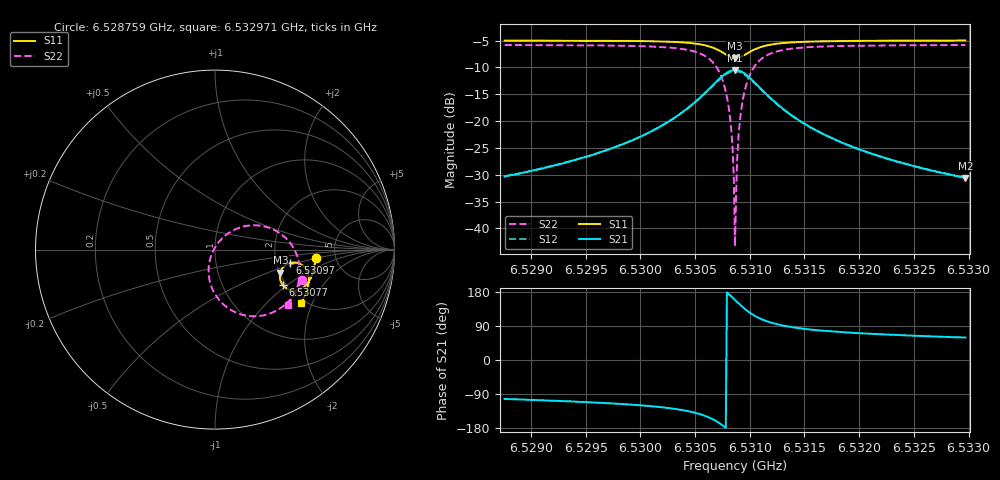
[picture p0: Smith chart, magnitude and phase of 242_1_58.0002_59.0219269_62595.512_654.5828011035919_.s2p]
#  HZ  S  RI  R  50.00
! Rohde & Schwarz Vector Network Analyzer
! Rohde-Schwarz,ZNB20-2Port,1311601062101988,3.16
! Created: UTC 3/21/2024, 1:01:06 AM
! freq[Hz]  re:S11  im:S11  re:S21  im:S21  re:S12  im:S12  re:S22  im:S22
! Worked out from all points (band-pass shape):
!   401 points, 6.528759 GHz to 6.532971 GHz, reference 50 ohm
!   highest |S21| = -10.46 dB at 6.530865 GHz (marker M1); lowest = -30.6 dB at 6.532971 GHz (marker M2)
!   |S21| within 3 dB of the highest: 6.530655 GHz to 6.531076 GHz (421.5 kHz wide, 0.00645 % of centre)
!   lowest |S11| = -8.3 dB at 6.530865 GHz (marker M3), VSWR 2.26, Z = 101 - j30.4 ohm
!   |S11| at or under -10 dB: nowhere
!   |S22| runs from -43.3 to -5.8 dB; largest |S21 - S12| = 0.012
!   S11 on the Smith chart (normalised r, x): 6.528759 GHz: 3.50, -0.49; 6.53077 GHz: 1.92, -0.92; 6.53097 GHz: 2.38, -0.43; 6.532971 GHz: 1.89, -1.65
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6.5287589e9  0.5603 -0.0475  -0.00672 -0.0297  -0.00735 -0.0295  0.4832 -0.168
6.5294644e9  0.551 -0.1062  -0.0159 -0.0423  -0.017 -0.042  0.4526 -0.232
6.5301699e9  0.5242 -0.176  -0.0488 -0.0727  -0.0509 -0.0713  0.372 -0.3212
6.5305911e9  0.4552 -0.2266  -0.1543 -0.0983  -0.1566 -0.0921  0.1695 -0.367
6.5306964e9  0.4111 -0.2221  -0.2224 -0.0727  -0.2216 -0.0634  0.055 -0.3123
6.5307701e9  0.3766 -0.1958  -0.2727 -0.0155  -0.2671 -0.00581  -0.0195 -0.2071
6.5308017e9  0.3658 -0.1763  -0.2861 0.0222  -0.2782 0.0309  -0.0347 -0.1422
6.5308228e9  0.362 -0.1609  -0.2892 0.0507  -0.2801 0.058  -0.0346 -0.0948
6.5308333e9  0.3612 -0.1528  -0.289 0.0656  -0.2793 0.072  -0.0314 -0.0705
6.5308438e9  0.3611 -0.1444  -0.2872 0.0803  -0.2769 0.0859  -0.0256 -0.0464
6.5308544e9  0.3622 -0.136  -0.2838 0.0952  -0.2733 0.0999  -0.0174 -0.0227
6.5308649e9  0.364 -0.1279  -0.279 0.1098  -0.2683 0.1135  -0.00682 -6.63e-05
6.5308754e9  0.3668 -0.12  -0.2728 0.1238  -0.2621 0.1265  0.00608 0.0216
6.530886e9  0.3703 -0.1123  -0.2651 0.1369  -0.2546 0.1388  0.0208 0.0417
6.5308965e9  0.3746 -0.1053  -0.2563 0.1493  -0.246 0.1503  0.0373 0.0603
6.5309176e9  0.3852 -0.093  -0.2361 0.1706  -0.2264 0.1701  0.0746 0.0914
6.5309702e9  0.4174 -0.0745  -0.1769 0.2024  -0.1703 0.1994  0.1772 0.1324
6.5310439e9  0.4595 -0.0743  -0.1034 0.2043  -0.0998 0.2016  0.3007 0.1217
6.5311492e9  0.4963 -0.0959  -0.0399 0.1745  -0.0382 0.1728  0.4029 0.0554
6.5315704e9  0.5229 -0.1749  0.0148 0.0845  0.0161 0.084  0.4721 -0.1333
6.5322759e9  0.5046 -0.2468  0.0174 0.0405  0.0181 0.0402  0.4429 -0.2481
6.5329709e9  0.4785 -0.2989  0.0151 0.0253  0.0157 0.0252  0.4079 -0.308
